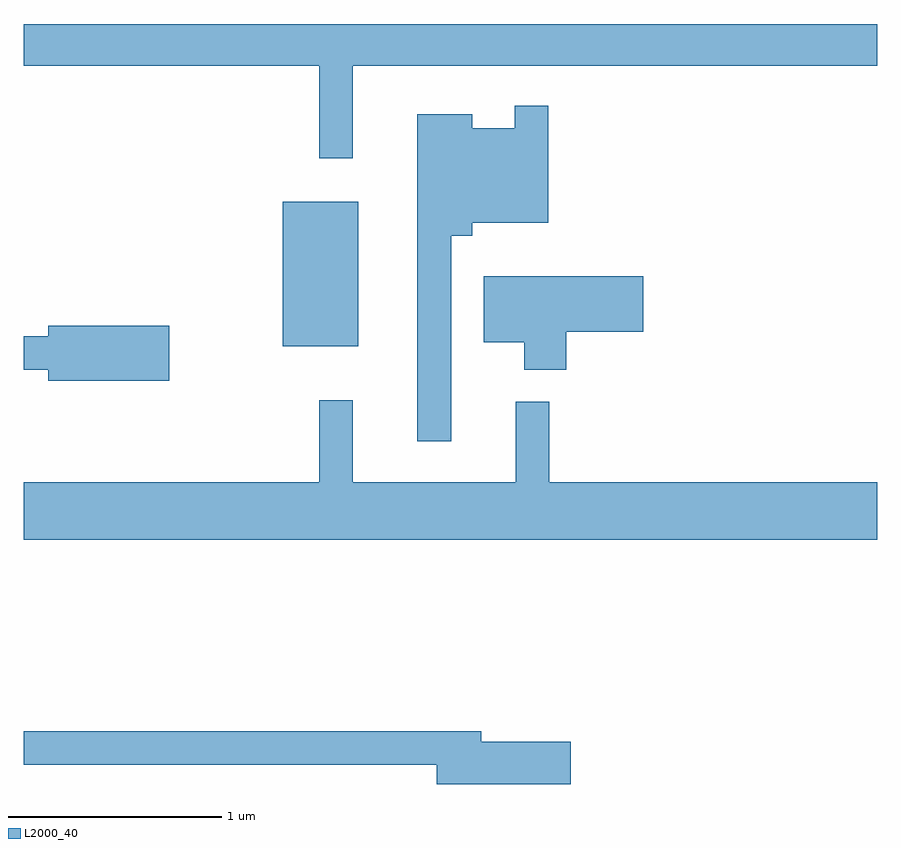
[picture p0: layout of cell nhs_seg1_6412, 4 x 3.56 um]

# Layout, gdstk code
import gdstk
lib = gdstk.Library(unit=1e-6, precision=1e-09)
def R(c, l, rs):  # rectangles x0, y0, x1, y1
    for r in rs: c.add(gdstk.rectangle(r[:2], r[2:], *l))
def P(c, l, *ps):  # polygons
    for p in ps: c.add(gdstk.Polygon(p, *l))
L2000_40 = (2000, 40)

nhs_seg1_6412 = lib.new_cell('nhs_seg1_6412')
R(nhs_seg1_6412, L2000_40, [(378.826,958.201,379.179,958.879)])
P(nhs_seg1_6412, L2000_40, [(377.611,959.516),(378.996,959.516),(378.996,959.083),(379.154,959.083),(379.154,959.516),(381.611,959.516),(381.611,959.712),(377.611,959.712)],
  [(379.614,958.721),(379.714,958.721),(379.714,958.781),(380.069,958.781),(380.069,959.328),(379.911,959.328),(379.911,959.224),(379.714,959.224),(379.714,959.289),(379.456,959.289),(379.456,957.758),(379.614,957.758)],
  [(380.154,958.271),(380.514,958.271),(380.514,958.529),(379.766,958.529),(379.766,958.221),(379.956,958.221),(379.956,958.091),(380.154,958.091)],
  [(378.294,958.299),(377.726,958.299),(377.726,958.249),(377.611,958.249),(377.611,958.091),(377.726,958.091),(377.726,958.041),(378.294,958.041)],
  [(381.611,957.564),(380.074,957.564),(380.074,957.943),(379.916,957.943),(379.916,957.564),(379.154,957.564),(379.154,957.948),(378.996,957.948),(378.996,957.564),(377.611,957.564),(377.611,957.296),(381.611,957.296)],
  [(380.174,956.349),(379.754,956.349),(379.754,956.399),(377.611,956.399),(377.611,956.241),(379.546,956.241),(379.546,956.151),(380.174,956.151)])

lib.write_gds('nhs_seg1_6412.gds')
